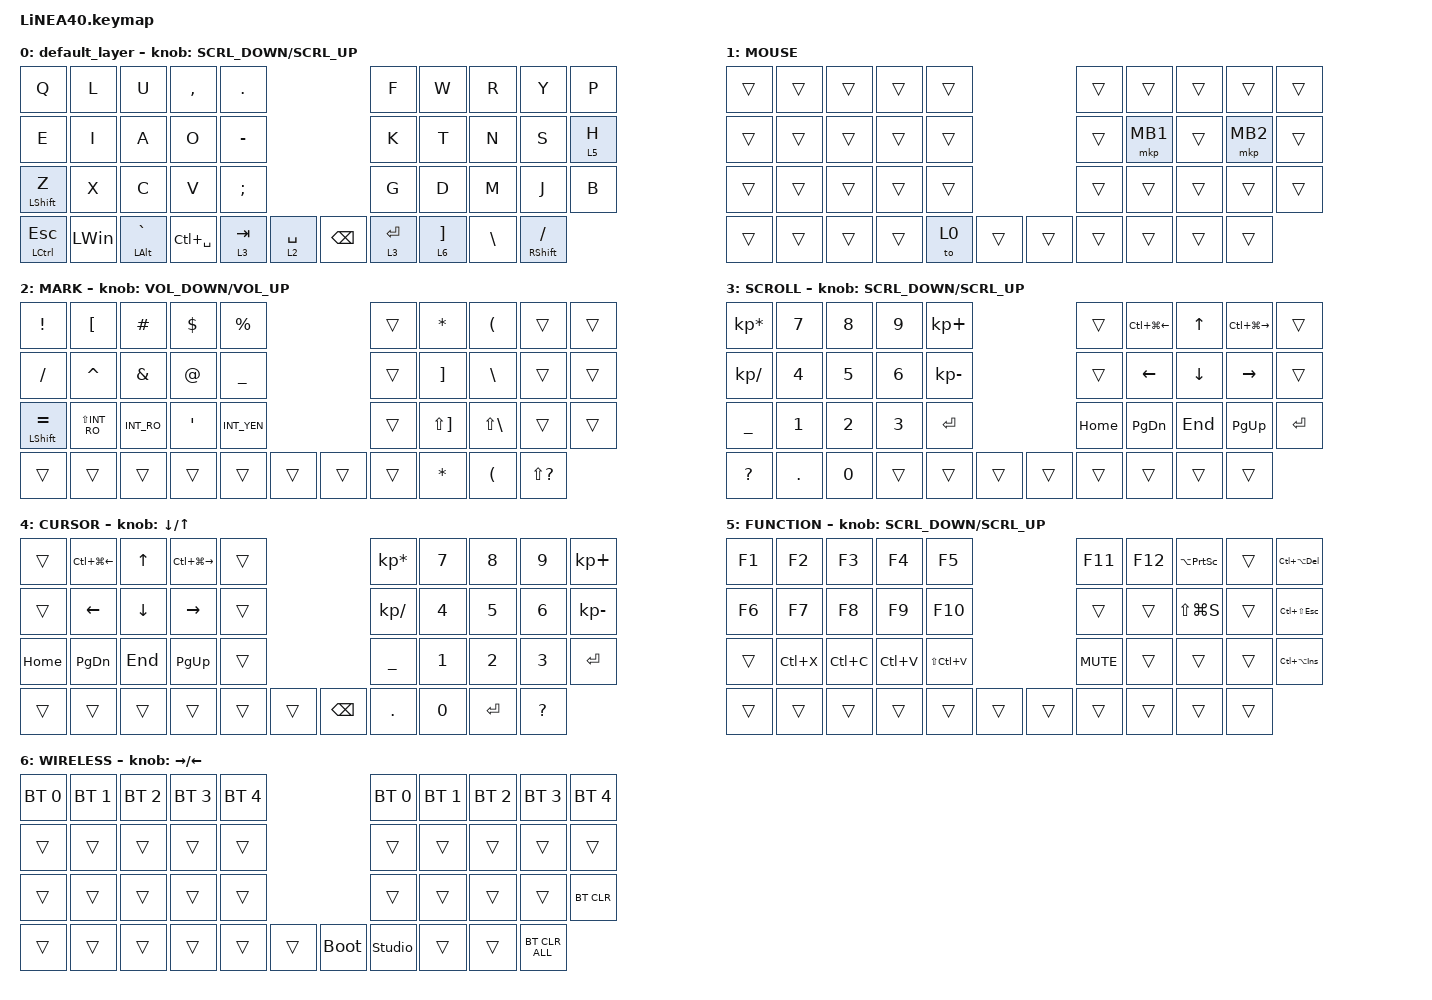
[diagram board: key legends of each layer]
#define ZMK_POINTING_DEFAULT_SCRL_VAL 150

#include <dt-bindings/zmk/input_transform.h>
#include <input/processors.dtsi>
#include <zephyr/dt-bindings/input/input-event-codes.h>
#include <behaviors.dtsi>
#include <dt-bindings/zmk/bt.h>
#include <dt-bindings/zmk/keys.h>
#include <dt-bindings/zmk/pointing.h>

#define MOUSE 1
#define MARK 2
#define CURSOR 3
#define FUNCTION 4
#define SCROLL 5
#define WIRELESS 6

//mouse cursol

&mmv {
    delay-ms = <20>;
    trigger-period-ms = <5>;
    time-to-max-speed-ms = <100>;
    acceleration-exponent = <2>;
};

//mouse scroll

&msc {
    delay-ms = <3>;
    trigger-period-ms = <3>;
    time-to-max-speed-ms = <100>;
    acceleration-exponent = <0>;
};

/ {
    input_processors {
        zip_wheel_scaler: zip_wheel_scaler {
            compatible = "zmk,input-processor-scaler";
            #input-processor-cells = <2>;
            type = <INPUT_EV_REL>;
            codes = <INPUT_REL_WHEEL>;
            track-remainders;
        };
    };
};

&msc_input_listener {
    speed_up {
        layers = <FUNCTION>;
        input-processors = <&zip_wheel_scaler 3 1>; //スクロールを3倍速にする
    };
};

&trackball_listener {
    scroller {
        layers = <SCROLL CURSOR>;
        input-processors =
            <&zip_xy_transform INPUT_TRANSFORM_Y_INVERT>,
            //スクロール方向を逆転,,,,,,,,,,,,,,
            <&zip_xy_to_scroll_mapper>;
    };
};

/ {
    combos {
        compatible = "zmk,combos";

        ZenkakuHankaku {
            bindings = <&kp GRAVE>;
            key-positions = <11 12>;
        };

        mannaka {
            bindings = <&mkp MB3>;
            key-positions = <7 8>;
        };

        deri-toKey {
            bindings = <&kp LC(DELETE)>;
            key-positions = <9 8>;
        };

        leftClick {
            bindings = <&mkp MB1>;
            key-positions = <17 16>;
        };

        RightClick {
            bindings = <&mkp MB2>;
            key-positions = <18 17>;
        };

        PrevClick {
            bindings = <&mkp MB4>;
            key-positions = <27 28>;
        };

        ClickNext {
            bindings = <&mkp MB5>;
            key-positions = <26 27>;
        };

        machenkan {
            bindings = <&kp LC(SPACE)>;
            key-positions = <12 13>;
        };
    };

    behaviors {
        re_kp: sensor_rotate_kp {
            compatible = "zmk,behavior-sensor-rotate-var";
            #sensor-binding-cells = <2>;
            bindings = <&kp>, <&kp>;
        };

        mouse_scrl: mouse_wheel_scrl {
            compatible = "zmk,behavior-sensor-rotate-var";
            #sensor-binding-cells = <2>;
            bindings = <&msc>, <&msc>;

            tap-ms = <20>;
        };
    };

    keymap {
        compatible = "zmk,keymap";

        default_layer {
            bindings = <
&kp Q          &kp L         &kp U               &kp COMMA      &kp PERIOD                                   &kp F        &kp W  &kp R                &kp Y          &kp P
&kp E          &kp I         &kp A               &kp O          &kp MINUS                                    &kp K        &kp T  &kp N                &kp S          &lt 5 H
&mt LSHFT Z    &kp X         &kp C               &kp V          &kp SEMICOLON                                &kp G        &kp D  &kp M                &kp J          &kp B
&mt LCTRL ESC  &kp LEFT_WIN  &mt LEFT_ALT GRAVE  &kp LC(SPACE)  &lt 3 TAB      &lt 2 SPACE    &kp BACKSPACE  &lt 3 ENTER         &lt 6 RIGHT_BRACKET  &kp BACKSLASH  &mt RIGHT_SHIFT SLASH
            >;

            sensor-bindings = <&mouse_scrl SCRL_DOWN SCRL_UP>;
        };

        MOUSE {
            bindings = <
&trans  &trans  &trans  &trans  &trans                    &trans  &trans    &trans  &trans    &trans
&trans  &trans  &trans  &trans  &trans                    &trans  &mkp MB1  &trans  &mkp MB2  &trans
&trans  &trans  &trans  &trans  &trans                    &trans  &trans    &trans  &trans    &trans
&trans  &trans  &trans  &trans  &to 0   &trans    &trans  &trans            &trans  &trans    &trans
            >;
        };

        MARK {
            bindings = <
&kp EXCLAMATION       &kp LBKT        &kp HASH       &kp DOLLAR   &kp PERCENT                    &trans  &kp ASTERISK           &kp LEFT_PARENTHESIS  &trans                &trans
&kp SLASH             &kp CARET       &kp AMPERSAND  &kp AT_SIGN  &kp UNDER                      &trans  &kp RIGHT_BRACKET      &kp BACKSLASH         &trans                &trans
&mt LEFT_SHIFT EQUAL  &kp LS(INT_RO)  &kp INT_RO     &kp APOS     &kp INT_YEN                    &trans  &kp LS(RIGHT_BRACKET)  &kp LS(BACKSLASH)     &trans                &trans
&trans                &trans          &trans         &trans       &trans       &trans    &trans  &trans                         &kp ASTERISK          &kp LEFT_PARENTHESIS  &kp LS(QUESTION)
            >;

            sensor-bindings = <&re_kp C_VOLUME_DOWN C_VOLUME_UP>;
        };

        SCROLL {
            bindings = <
&kp KP_MULTIPLY  &kp N7        &kp N8        &kp N9        &kp KP_PLUS                     &trans    &kp LC(LG(LEFT_ARROW))  &kp UP_ARROW    &kp LC(LG(RIGHT))  &trans
&kp KP_SLASH     &kp NUMBER_4  &kp N5        &kp NUMBER_6  &kp KP_MINUS                    &trans    &kp LEFT_ARROW          &kp DOWN_ARROW  &kp RIGHT_ARROW    &trans
&kp UNDER        &kp NUMBER_1  &kp NUMBER_2  &kp NUMBER_3  &kp ENTER                       &kp HOME  &kp PAGE_DOWN           &kp END         &kp PG_UP          &kp ENTER
&kp QUESTION     &kp DOT       &kp N0        &trans        &trans        &trans    &trans  &trans                            &trans          &trans             &trans
            >;

            sensor-bindings = <&mouse_scrl SCRL_DOWN SCRL_UP>;
        };

        CURSOR {
            bindings = <
&trans    &kp LC(LG(LEFT_ARROW))  &kp UP_ARROW  &kp LC(LG(RIGHT_ARROW))  &trans                           &kp KP_MULTIPLY  &kp NUMBER_7  &kp NUMBER_8  &kp NUMBER_9  &kp KP_PLUS
&trans    &kp LEFT_ARROW          &kp DOWN      &kp RIGHT_ARROW          &trans                           &kp KP_SLASH     &kp NUMBER_4  &kp NUMBER_5  &kp NUMBER_6  &kp KP_MINUS
&kp HOME  &kp PAGE_DOWN           &kp END       &kp PAGE_UP              &trans                           &kp UNDER        &kp NUMBER_1  &kp NUMBER_2  &kp NUMBER_3  &kp ENTER
&trans    &trans                  &trans        &trans                   &trans  &trans    &kp BACKSPACE  &kp DOT                        &kp NUMBER_0  &kp ENTER     &kp QUESTION
            >;

            sensor-bindings = <&inc_dec_kp DOWN_ARROW UP_ARROW>;
        };

        FUNCTION {
            bindings = <
&kp F1  &kp F2     &kp F3     &kp F4     &kp F5                           &kp F11     &kp F12  &kp LA(PRINTSCREEN)  &trans  &kp LC(LA(DELETE))
&kp F6  &kp F7     &kp F8     &kp F9     &kp F10                          &trans      &trans   &kp LS(LG(S))        &trans  &kp LC(LS(ESCAPE))
&trans  &kp LC(X)  &kp LC(C)  &kp LC(V)  &kp LS(LC(V))                    &kp C_MUTE  &trans   &trans               &trans  &kp LC(LA(INS))
&trans  &trans     &trans     &trans     &trans         &trans    &trans  &trans               &trans               &trans  &trans
            >;

            sensor-bindings = <&mouse_scrl SCRL_DOWN SCRL_UP>;
        };

        WIRELESS {
            bindings = <
&bt BT_SEL 0  &bt BT_SEL 1  &bt BT_SEL 2  &bt BT_SEL 3  &bt BT_SEL 4                         &bt BT_SEL 0    &bt BT_SEL 1  &bt BT_SEL 2  &bt BT_SEL 3  &bt BT_SEL 4
&trans        &trans        &trans        &trans        &trans                               &trans          &trans        &trans        &trans        &trans
&trans        &trans        &trans        &trans        &trans                               &trans          &trans        &trans        &trans        &bt BT_CLR
&trans        &trans        &trans        &trans        &trans        &trans    &bootloader  &studio_unlock                &trans        &trans        &bt BT_CLR_ALL
            >;

            sensor-bindings = <&inc_dec_kp RIGHT_ARROW LEFT_ARROW>;
        };
    };
};
